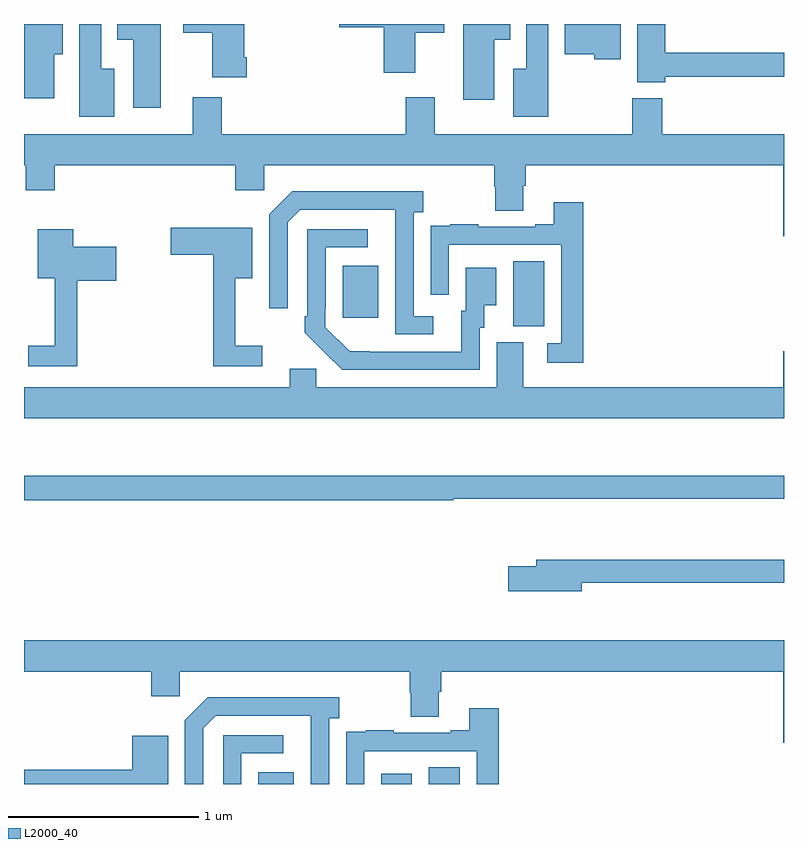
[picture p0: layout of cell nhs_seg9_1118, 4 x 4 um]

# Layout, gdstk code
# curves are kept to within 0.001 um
import gdstk
lib = gdstk.Library(unit=1e-6, precision=1e-09)
def R(c, l, rs):  # rectangles x0, y0, x1, y1
    for r in rs: c.add(gdstk.rectangle(r[:2], r[2:], *l))
def P(c, l, *ps):  # polygons
    for p in ps: c.add(gdstk.Polygon(p, *l))
L2000_40 = (2000, 40)

nhs_seg9_1118 = lib.new_cell('nhs_seg9_1118')
R(nhs_seg9_1118, L2000_40, [(174.233,1190.5,174.421,1190.563), (174.881,1190.5,175.042,1190.554), (175.13,1190.5,175.294,1190.588), (175.574,1192.909,175.738,1193.252), (174.677,1192.953,174.865,1193.227)])
P(nhs_seg9_1118, L2000_40, [(175.06,1194.454),(175.213,1194.454),(175.213,1194.5),(174.66,1194.5),(174.66,1194.482),(174.893,1194.482),(174.893,1194.243),(175.06,1194.243)],
  [(173.719,1194.5),(173.492,1194.5),(173.492,1194.416),(173.576,1194.416),(173.576,1194.059),(173.719,1194.059)],
  [(173.476,1194.265),(173.407,1194.265),(173.407,1194.5),(173.291,1194.5),(173.291,1194.011),(173.476,1194.011)],
  [(175.474,1194.416),(175.558,1194.416),(175.558,1194.5),(175.313,1194.5),(175.313,1194.102),(175.474,1194.102)],
  [(176.375,1194.222),(177,1194.222),(177,1194.35),(176.375,1194.35),(176.375,1194.5),(176.228,1194.5),(176.228,1194.194),(176.375,1194.194)],
  [(173.158,1194.341),(173.203,1194.341),(173.203,1194.5),(173,1194.5),(173,1194.108),(173.158,1194.108)],
  [(174.173,1194.325),(174.16,1194.325),(174.16,1194.5),(173.838,1194.5),(173.838,1194.454),(173.99,1194.454),(173.99,1194.221),(174.173,1194.221)],
  [(175.759,1194.5),(175.643,1194.5),(175.643,1194.265),(175.574,1194.265),(175.574,1194.011),(175.759,1194.011)],
  [(176.14,1194.5),(175.847,1194.5),(175.847,1194.341),(176.001,1194.341),(176.001,1194.314),(176.14,1194.314)],
  [(177,1193.92),(176.36,1193.92),(176.36,1194.109),(176.2,1194.109),(176.2,1193.92),(175.162,1193.92),(175.162,1194.115),(175.01,1194.115),(175.01,1193.92),(174.041,1193.92),(174.041,1194.115),(173.888,1194.115),(173.888,1193.92),(173,1193.92),(173,1193.756),(173.01,1193.756),(173.01,1193.625),(173.162,1193.625),(173.162,1193.756),(174.113,1193.756),(174.113,1193.625),(174.264,1193.625),(174.264,1193.756),(175.475,1193.756),(175.475,1193.643),(175.48,1193.643),(175.48,1193.518),(175.627,1193.518),(175.627,1193.65),(175.64,1193.65),(175.64,1193.756),(176.996,1193.756),(176.996,1193.382),(177,1193.382)],
  [(175.153,1192.962),(175.05,1192.962),(175.05,1193.51),(175.102,1193.51),(175.102,1193.62),(174.412,1193.62),(174.291,1193.499),(174.291,1193.004),(174.387,1193.004),(174.387,1193.457),(174.453,1193.523),(174.953,1193.523),(174.954,1192.866),(175.153,1192.866)],
  [(175.943,1193.563),(175.787,1193.563),(175.787,1193.446),(175.691,1193.446),(175.691,1193.433),(175.391,1193.433),(175.391,1193.446),(175.243,1193.446),(175.243,1193.439),(175.141,1193.439),(175.141,1193.33),(175.14,1193.33),(175.14,1193.076),(175.236,1193.076),(175.236,1193.337),(175.827,1193.337),(175.827,1192.821),(175.755,1192.821),(175.755,1192.716),(175.943,1192.716)],
  [(174.253,1192.807),(174.113,1192.807),(174.113,1193.162),(174.202,1193.162),(174.202,1193.427),(173.772,1193.427),(173.772,1193.285),(173.995,1193.285),(173.995,1192.698),(174.253,1192.698)],
  [(175.398,1192.902),(175.423,1192.902),(175.423,1193.021),(175.486,1193.021),(175.486,1193.218),(175.325,1193.218),(175.325,1192.992),(175.301,1192.992),(175.301,1192.776),(174.714,1192.777),(174.585,1192.905),(174.585,1193.005),(174.588,1193.005),(174.588,1193.325),(174.808,1193.325),(174.808,1193.421),(174.492,1193.421),(174.492,1192.963),(174.477,1192.963),(174.477,1192.875),(174.674,1192.68),(175.398,1192.68)],
  [(173.279,1193.15),(173.485,1193.15),(173.485,1193.328),(173.26,1193.328),(173.26,1193.419),(173.072,1193.419),(173.072,1193.162),(173.162,1193.162),(173.162,1192.807),(173.022,1192.807),(173.022,1192.698),(173.279,1192.698)],
  [(177,1192.777),(176.996,1192.777),(176.996,1192.588),(175.627,1192.588),(175.627,1192.824),(175.487,1192.824),(175.487,1192.588),(174.537,1192.588),(174.537,1192.686),(174.398,1192.686),(174.398,1192.588),(173,1192.588),(173,1192.424),(177,1192.424)],
  [(175.258,1192.002),(177,1192.002),(177,1192.123),(173,1192.123),(173,1191.994),(175.258,1191.994)],
  [(175.936,1191.558),(177,1191.558),(177,1191.679),(175.697,1191.679),(175.697,1191.645),(175.548,1191.645),(175.548,1191.515),(175.936,1191.515)],
  [(177,1191.256),(173,1191.256),(173,1191.092),(173.669,1191.092),(173.669,1190.961),(173.82,1190.961),(173.82,1191.092),(175.031,1191.092),(175.031,1190.979),(175.036,1190.979),(175.036,1190.854),(175.183,1190.854),(175.183,1190.986),(175.196,1190.986),(175.196,1191.092),(176.996,1191.092),(176.996,1190.718),(177,1190.718)],
  [(173.943,1190.793),(174.009,1190.859),(174.509,1190.859),(174.51,1190.5),(174.606,1190.5),(174.606,1190.846),(174.658,1190.846),(174.658,1190.956),(173.968,1190.956),(173.847,1190.835),(173.847,1190.5),(173.943,1190.5)],
  [(174.792,1190.673),(175.383,1190.673),(175.383,1190.5),(175.499,1190.5),(175.499,1190.899),(175.343,1190.899),(175.343,1190.782),(175.247,1190.782),(175.247,1190.769),(174.947,1190.769),(174.947,1190.782),(174.799,1190.782),(174.799,1190.775),(174.697,1190.775),(174.697,1190.666),(174.696,1190.666),(174.696,1190.5),(174.792,1190.5)],
  [(174.144,1190.661),(174.364,1190.661),(174.364,1190.757),(174.048,1190.757),(174.048,1190.5),(174.144,1190.5)],
  [(173.758,1190.755),(173.571,1190.755),(173.571,1190.576),(173,1190.576),(173,1190.5),(173.758,1190.5)])

lib.write_gds('nhs_seg9_1118.gds')
